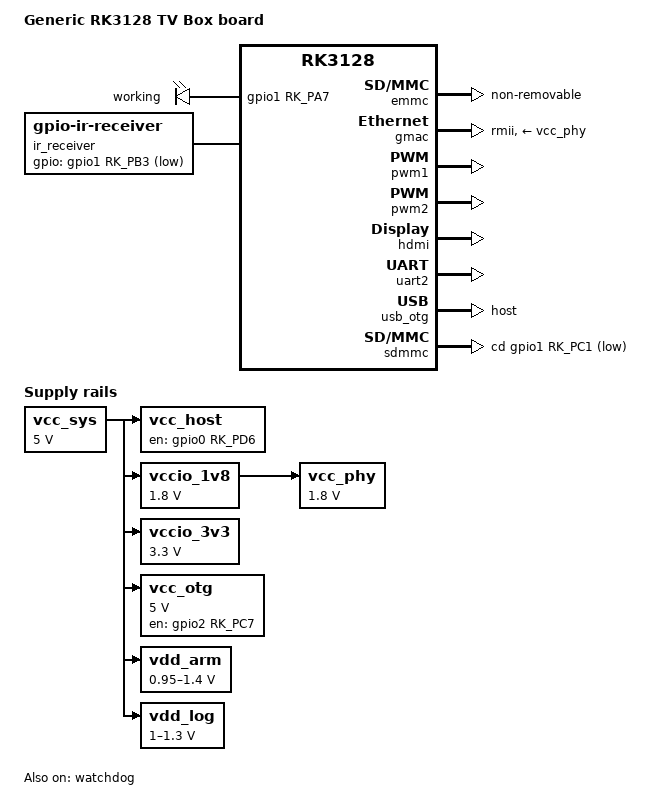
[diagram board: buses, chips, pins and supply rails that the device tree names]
// SPDX-License-Identifier: (GPL-2.0+ OR MIT)

/dts-v1/;

#include <dt-bindings/gpio/gpio.h>
#include <dt-bindings/pinctrl/rockchip.h>
#include <dt-bindings/pwm/pwm.h>
#include "rk3128.dtsi"

/ {

	model = "Generic RK3128 TV Box board";
	compatible = "rockchip,rk3128";

	/*
	 * No need to reserve memory manually as long as u-boot v2020.10 and
	 * OPTEE autoconfigure the reserved zones
	*/
	/delete-node/ reserved-memory;

	/*
	 * 	Include the mmc devices into aliases table
	 */
	aliases {
		mmc0 = &sdmmc;
		mmc1 = &sdio;
		mmc2 = &emmc;
	};

	chosen {
		bootargs = "earlyprintk=uart8250,mmio32,0x20068000";
	};

	cpu0_opp_table: opp-table-0 {
		compatible = "operating-points-v2";
		opp-shared;

		opp-600000000 {
			opp-hz = /bits/ 64 <600000000>;
			opp-microvolt = <975000>;
			clock-latency-ns = <40000>;
			opp-suspend;
		};

		opp-816000000 {
			opp-hz = /bits/ 64 <816000000>;
			opp-microvolt = <1000000>;
		};

		opp-1008000000 {
			opp-hz = /bits/ 64 <1008000000>;
			opp-microvolt = <1175000>;
		};

		opp-1200000000 {
			opp-hz = /bits/ 64 <1200000000>;
			opp-microvolt = <1275000>;
		};

	};

	gpio_leds: gpio-leds {

		compatible = "gpio-leds";

		/*
		* Working led, available on most boards
		*/
		working {
			gpios = <&gpio1 RK_PA7 GPIO_ACTIVE_HIGH>;
			label = "working";
			default-state = "on";
			linux,default-trigger = "timer";
			pinctrl-names = "default";
			pinctrl-0 = <&gpio_led_working>;
		};

	};

	gpio_keys: gpio-keys {

		compatible = "gpio-keys";

		#address-cells = <1>;
		#size-cells = <0>;

	};

	ir_receiver: ir-receiver {
		compatible = "gpio-ir-receiver";
		gpios = <&gpio1 RK_PB3 GPIO_ACTIVE_LOW>;
		pinctrl-0 = <&ir_int>;
		pinctrl-names = "default";
		status = "okay";
		linux,rc-map-name = "rc-rk3128-tvbox";
	};

	vcc_sys: vcc-sys-regulator {
		compatible = "regulator-fixed";
		regulator-name = "vcc_sys";
		regulator-always-on;
		regulator-boot-on;
		regulator-min-microvolt = <5000000>;
		regulator-max-microvolt = <5000000>;
	};

	vcc_host: vcc-host-regulator {
		compatible = "regulator-fixed";
		enable-active-high;
		gpio = <&gpio0 RK_PD6 GPIO_ACTIVE_HIGH>;
		pinctrl-names = "default";
		pinctrl-0 = <&host_vbus_drv>;
		regulator-name = "vcc_host";
		regulator-always-on;
		regulator-boot-on;
		vin-supply = <&vcc_sys>;
	};

	vccio_1v8: vccio-1v8-regulator {
		compatible = "regulator-fixed";
		regulator-name = "vccio_1v8";
		regulator-min-microvolt = <1800000>;
		regulator-max-microvolt = <1800000>;
		regulator-always-on;
		vin-supply = <&vcc_sys>;
	};

	vccio_3v3: vccio-3v3-regulator {
		compatible = "regulator-fixed";
		regulator-name = "vccio_3v3";
		regulator-min-microvolt = <3300000>;
		regulator-max-microvolt = <3300000>;
		regulator-always-on;
		vin-supply = <&vcc_sys>;
	};

	vcc_otg: vcc-otg-regulator {
		compatible = "regulator-fixed";
		enable-active-high;
		gpio = <&gpio2 RK_PC7 GPIO_ACTIVE_HIGH>;
		pinctrl-names = "default";
		pinctrl-0 = <&otg_vbus_drv>;
		regulator-name = "vcc_otg_vbus";
		regulator-min-microvolt = <5000000>;
		regulator-max-microvolt = <5000000>;
		regulator-always-on;
		regulator-boot-on;
		vin-supply = <&vcc_sys>;
	};

	vcc_phy: vcc-phy-regulator {
		compatible = "regulator-fixed";
		enable-active-high;
		regulator-name = "vcc_phy";
		regulator-min-microvolt = <1800000>;
		regulator-max-microvolt = <1800000>;
		regulator-always-on;
		regulator-boot-on;
		vin-supply = <&vccio_1v8>;
	};

	vdd_arm: vdd-arm-regulator {
		compatible = "pwm-regulator";
		pwms = <&pwm1 0 5000 PWM_POLARITY_INVERTED>;
		pwm-supply = <&vcc_sys>;
		regulator-name = "vdd_arm";
		regulator-min-microvolt = <950000>;
		regulator-max-microvolt = <1400000>;
		regulator-always-on;
		regulator-boot-on;
	};

	vdd_log: vdd-log-regulator {
		compatible = "pwm-regulator";
		pwms = <&pwm2 0 5000 PWM_POLARITY_INVERTED>;
		pwm-supply = <&vcc_sys>;
		regulator-name = "vdd_log";
		regulator-min-microvolt = <1000000>;
		regulator-max-microvolt = <1300000>;
		regulator-always-on;
		regulator-boot-on;
	};

	hdmi-sound {
		compatible = "simple-audio-card";
		simple-audio-card,name = "HDMI";
	};

	analog-sound {
		compatible = "simple-audio-card";
		simple-audio-card,name = "analog";
	};

};

&cpu0 {
	cpu-supply = <&vdd_arm>;
};

&cpu1 {
	cpu-supply = <&vdd_arm>;
};

&cpu2 {
	cpu-supply = <&vdd_arm>;
};

&cpu3 {
	cpu-supply = <&vdd_arm>;
};

&emmc {
	cap-mmc-highspeed;
	keep-power-in-suspend;
	non-removable;
	status = "okay";
};

&gmac {
	assigned-clocks = <&cru SCLK_MAC_SRC>;
	assigned-clock-rates = <50000000>;
	clock_in_out = "output";
	phy-mode = "rmii";
	phy-supply = <&vcc_phy>;
	status = "okay";
};

&pwm1 {
	status = "okay";
};

&pwm2 {
	status = "okay";
};

&hdmi {
	status = "okay";
};

&pinctrl {

	pcfg_pull_up_12ma: pcfg-pull-up-12ma {
		drive-strength = <12>;
		bias-pull-up;
	};

	pcfg_pull_down_12ma: pcfg-pull-down-12ma {
		drive-strength = <12>;
		bias-pull-down;
	};

	pcfg_pull_none_12ma: pcfg-pull-none-12ma {
		drive-strength = <12>;
		bias-disable;
	};

	gpio-items {
		gpio_led_working: gpio-led-working {
			rockchip,pins =  <1 RK_PA7 RK_FUNC_GPIO &pcfg_pull_none>;
		};
	};

	ir {
		ir_int: ir-int {
			rockchip,pins = <1 RK_PB3 RK_FUNC_GPIO &pcfg_pull_none>;
		};
	};

	usb {
		host_vbus_drv: host-vbus-drv {
			rockchip,pins = <0 RK_PD6 RK_FUNC_GPIO &pcfg_pull_none>;
		};

		otg_vbus_drv: otg-vbus-drv {
			rockchip,pins = <2 RK_PC7 RK_FUNC_GPIO &pcfg_pull_none>;
		};
	};

};

&uart2 {
	status = "okay";
};

&usb_otg {
	dr_mode = "host";
	status = "okay";
};

&sdmmc {
	cd-gpios = <&gpio1 RK_PC1 GPIO_ACTIVE_LOW>;
	cd-debounce-delay-ms = <500>;
	cap-sd-highspeed;
	keep-power-in-suspend;
	no-sdio;
	status = "okay";
};

&watchdog {
	status = "okay";
};
